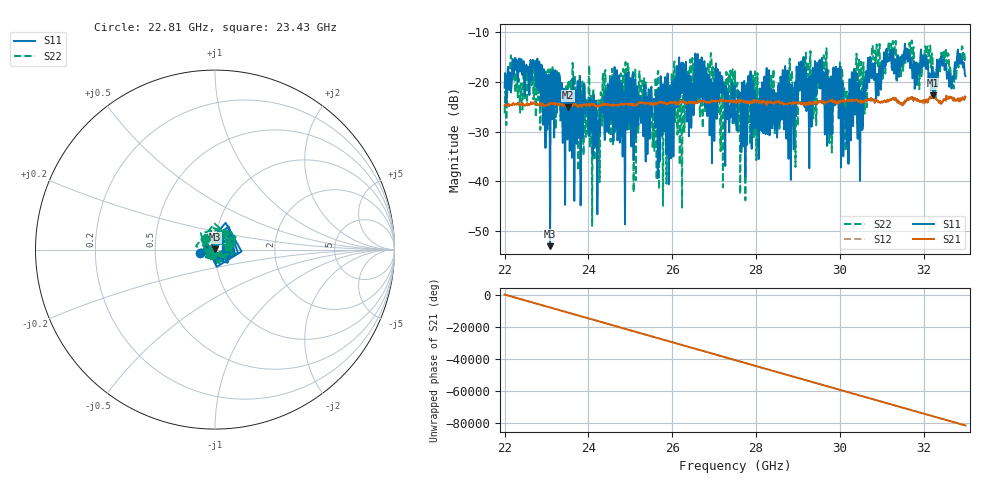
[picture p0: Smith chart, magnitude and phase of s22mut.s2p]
!Keysight Technologies,N5224B,MY57181201,A.12.70.07
!Date: Friday, July 15, 2022 16:07:52
!Correction: S11(Full 2 Port(1,2))
!S21(Full 2 Port(1,2))
!S12(Full 2 Port(1,2))
!S22(Full 2 Port(1,2))
!S2P File: Measurements: S11, S21, S12, S22:
# Hz S  dB  R 50
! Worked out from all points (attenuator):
!   801 points, 22 GHz to 33 GHz, reference 50 ohm
!   highest |S21| = -22.65 dB at 32.22 GHz (marker M1); lowest = -25.1 dB at 23.51 GHz (marker M2)
!   lowest |S11| = -53.1 dB at 23.09 GHz (marker M3), VSWR 1.00, Z = 50.1 + j0.215 ohm
!   |S11| at or under -10 dB: start of sweep to end of sweep
!   |S22| runs from -49.0 to -11.6 dB; largest |S21 - S12| = 0.0053
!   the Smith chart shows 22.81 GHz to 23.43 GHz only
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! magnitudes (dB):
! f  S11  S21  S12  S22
! 22 GHz  -21.2  -24.7  -24.5  -26.3
! 22.18 GHz  -16.7  -24.7  -24.7  -17.3
! 22.67 GHz  -15.5  -24.2  -24.3  -17.7
! 23.09 GHz  -53.1  -24.2  -24.5  -18.2
! 23.51 GHz  -26.4  -25.1  -24.8  -20.9
! 23.84 GHz  -22.6  -25.1  -25.1  -21.1
! 24.64 GHz  -29.3  -24.6  -24.6  -30.3
! 24.9 GHz  -18.4  -24.4  -24.3  -18.8
! 25.67 GHz  -26.1  -24.2  -24.3  -17.8
! 26.66 GHz  -15.6  -23.8  -23.9  -27.0
! 27.5 GHz  -27.8  -23.9  -23.8  -17.8
! 27.62 GHz  -22.2  -23.7  -23.7  -42.6
! 29.34 GHz  -21.5  -24.2  -24.2  -20.8
! 29.63 GHz  -19.9  -24.0  -24.3  -15.1
! 29.81 GHz  -24.6  -23.9  -24.1  -34.2
! 30.02 GHz  -16.9  -23.7  -23.6  -16.6
! 30.15 GHz  -29.6  -23.7  -23.8  -25.1
! 30.48 GHz  -39.9  -23.7  -23.8  -22.3
! 30.68 GHz  -15.1  -23.5  -23.5  -15.5
! 31.17 GHz  -15.0  -23.8  -23.6  -12.0
! 32.22 GHz  -16.9  -22.7  -23.2  -14.6
! 33 GHz  -18.8  -23.0  -23.1  -16.4
